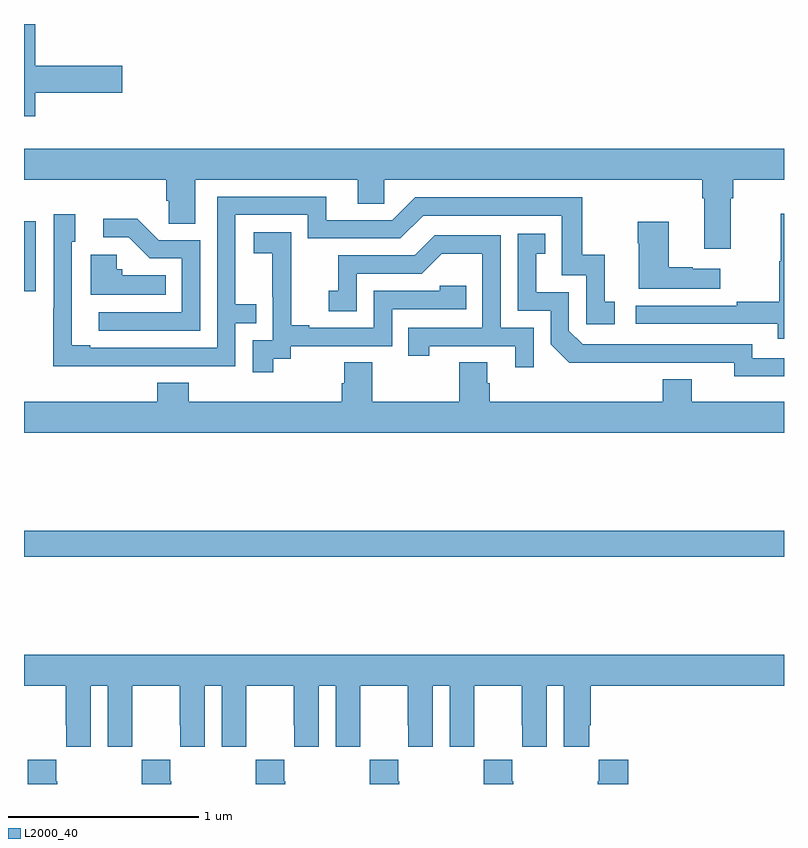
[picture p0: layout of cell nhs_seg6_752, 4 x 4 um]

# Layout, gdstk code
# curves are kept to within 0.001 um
import gdstk
lib = gdstk.Library(unit=1e-6, precision=1e-09)
def R(c, l, rs):  # rectangles x0, y0, x1, y1
    for r in rs: c.add(gdstk.rectangle(r[:2], r[2:], *l))
def P(c, l, *ps):  # polygons
    for p in ps: c.add(gdstk.Polygon(p, *l))
L2000_40 = (2000, 40)

nhs_seg6_752 = lib.new_cell('nhs_seg6_752')
R(nhs_seg6_752, L2000_40, [(159,934.696,163,934.832), (159,936.093,159.063,936.462)])
P(nhs_seg6_752, L2000_40, [(159.059,937.138),(159.517,937.138),(159.517,937.28),(159.059,937.28),(159.059,937.5),(159,937.5),(159,937.014),(159.059,937.014)],
  [(159,936.68),(159.749,936.68),(159.749,936.571),(159.762,936.571),(159.762,936.448),(159.901,936.448),(159.901,936.68),(160.757,936.68),(160.757,936.553),(160.896,936.553),(160.896,936.68),(162.569,936.68),(162.569,936.584),(162.581,936.584),(162.581,936.318),(162.721,936.318),(162.721,936.584),(162.734,936.584),(162.734,936.68),(163,936.68),(163,936.844),(159,936.844)],
  [(159.617,935.7),(160.113,935.7),(160.113,935.925),(160.223,935.925),(160.223,936.026),(160.113,936.026),(160.113,936.495),(160.494,936.495),(160.494,936.372),(160.98,936.372),(161.1,936.492),(161.829,936.492),(161.829,936.177),(161.958,936.177),(161.958,935.919),(162.109,935.919),(162.109,936.039),(162.056,936.039),(162.056,936.286),(161.938,936.286),(161.938,936.588),(161.058,936.588),(160.938,936.468),(160.591,936.468),(160.591,936.591),(160.017,936.591),(160.017,935.796),(159.349,935.796),(159.349,935.809),(159.252,935.809),(159.252,936.354),(159.271,936.354),(159.271,936.499),(159.156,936.499),(159.156,936.005),(159.154,936.005),(159.154,935.699)],
  [(163,936.502),(162.982,936.502),(162.982,936.252),(162.975,936.252),(162.975,936.038),(162.751,936.038),(162.751,936.018),(162.219,936.018),(162.219,935.922),(162.967,935.922),(162.967,935.844),(163,935.844)],
  [(159.927,936.363),(159.708,936.363),(159.595,936.476),(159.417,936.476),(159.417,936.378),(159.551,936.378),(159.662,936.267),(159.831,936.267),(159.831,935.982),(159.393,935.982),(159.393,935.886),(159.927,935.886)],
  [(162.664,936.211),(162.521,936.211),(162.521,936.221),(162.394,936.221),(162.394,936.46),(162.229,936.46),(162.229,936.347),(162.236,936.347),(162.236,936.107),(162.664,936.107)],
  [(160.312,935.737),(160.404,935.737),(160.404,935.805),(160.938,935.805),(160.938,936),(161.327,936),(161.327,936.123),(161.187,936.123),(161.187,936.096),(160.842,936.096),(160.842,935.901),(160.501,935.901),(160.501,935.914),(160.406,935.914),(160.406,936.197),(160.407,936.197),(160.407,936.403),(160.209,936.403),(160.209,936.293),(160.307,936.293),(160.307,936.065),(160.308,936.065),(160.308,935.835),(160.203,935.835),(160.203,935.667),(160.312,935.667)],
  [(163,935.742),(162.834,935.742),(162.834,935.814),(161.94,935.814),(161.868,935.886),(161.868,936.087),(161.695,936.087),(161.695,936.291),(161.744,936.291),(161.744,936.397),(161.598,936.397),(161.598,935.991),(161.772,935.991),(161.772,935.814),(161.87,935.717),(162.738,935.718),(162.738,935.645),(163,935.645)],
  [(161.682,935.901),(161.508,935.901),(161.508,936.387),(161.162,936.387),(161.057,936.282),(160.654,936.282),(160.654,936.097),(160.605,936.097),(160.605,935.988),(160.752,935.988),(160.752,936.186),(161.094,936.186),(161.198,936.29),(161.412,936.29),(161.412,935.901),(161.023,935.901),(161.023,935.754),(161.134,935.754),(161.134,935.805),(161.585,935.805),(161.585,935.694),(161.682,935.694)],
  [(159.746,936.178),(159.516,936.178),(159.516,936.21),(159.489,936.21),(159.489,936.286),(159.35,936.286),(159.35,936.074),(159.746,936.074)],
  [(163,935.512),(162.514,935.512),(162.514,935.629),(162.362,935.629),(162.362,935.512),(161.45,935.512),(161.45,935.61),(161.437,935.61),(161.437,935.72),(161.29,935.72),(161.29,935.512),(160.833,935.512),(160.833,935.72),(160.685,935.72),(160.685,935.61),(160.673,935.61),(160.673,935.512),(159.866,935.512),(159.866,935.611),(159.701,935.611),(159.701,935.512),(159,935.512),(159,935.348),(163,935.348)],
  [(159,934.016),(159.221,934.016),(159.221,933.808),(159.222,933.808),(159.222,933.696),(159.352,933.696),(159.352,934.016),(159.44,934.016),(159.44,933.696),(159.57,933.696),(159.57,933.808),(159.571,933.808),(159.571,934.016),(159.821,934.016),(159.821,933.808),(159.822,933.808),(159.822,933.696),(159.952,933.696),(159.952,934.016),(160.04,934.016),(160.04,933.696),(160.17,933.696),(160.17,933.808),(160.171,933.808),(160.171,934.016),(160.421,934.016),(160.421,933.808),(160.422,933.808),(160.422,933.696),(160.552,933.696),(160.552,934.016),(160.64,934.016),(160.64,933.696),(160.77,933.696),(160.77,933.808),(160.771,933.808),(160.771,934.016),(161.021,934.016),(161.021,933.808),(161.022,933.808),(161.022,933.696),(161.152,933.696),(161.152,934.016),(161.24,934.016),(161.24,933.696),(161.37,933.696),(161.37,933.808),(161.371,933.808),(161.371,934.016),(161.621,934.016),(161.621,933.808),(161.622,933.808),(161.622,933.696),(161.752,933.696),(161.752,934.016),(161.84,934.016),(161.84,933.696),(161.974,933.696),(161.974,933.808),(161.984,933.808),(161.984,934.016),(163,934.016),(163,934.18),(159,934.18)],
  [(162.179,933.628),(162.025,933.628),(162.025,933.515),(162.019,933.515),(162.019,933.5),(162.179,933.5)],
  [(161.574,933.515),(161.571,933.515),(161.571,933.628),(161.421,933.628),(161.421,933.515),(161.419,933.515),(161.419,933.5),(161.574,933.5)],
  [(160.974,933.515),(160.971,933.515),(160.971,933.628),(160.821,933.628),(160.821,933.515),(160.819,933.515),(160.819,933.5),(160.974,933.5)],
  [(160.374,933.515),(160.371,933.515),(160.371,933.628),(160.221,933.628),(160.221,933.515),(160.219,933.515),(160.219,933.5),(160.374,933.5)],
  [(159.774,933.515),(159.771,933.515),(159.771,933.628),(159.621,933.628),(159.621,933.515),(159.619,933.515),(159.619,933.5),(159.774,933.5)],
  [(159.174,933.515),(159.171,933.515),(159.171,933.628),(159.021,933.628),(159.021,933.515),(159.019,933.515),(159.019,933.5),(159.174,933.5)])

lib.write_gds('nhs_seg6_752.gds')
